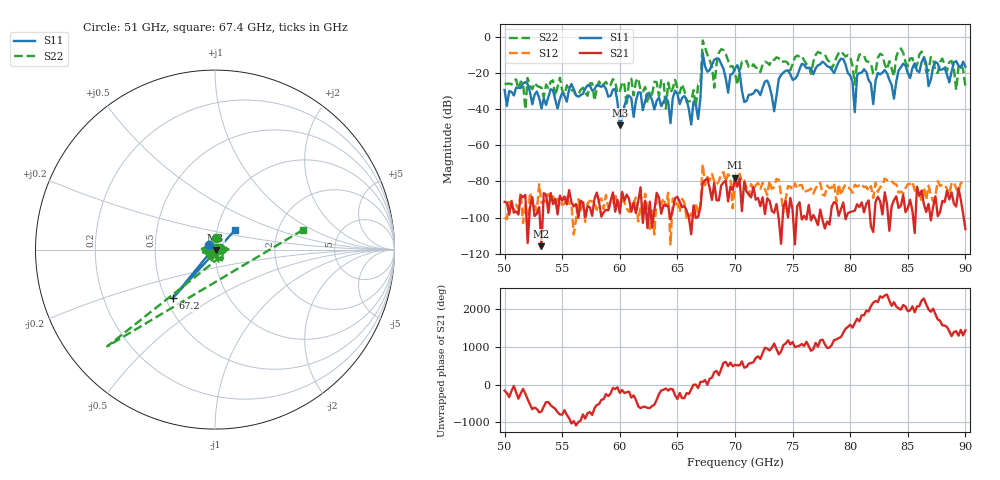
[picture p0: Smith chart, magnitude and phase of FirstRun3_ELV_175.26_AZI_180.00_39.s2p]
! 11/24/2026 3:44:12 PM
! C:\ANRITSUVNA\TEMP\TEMP.S2P
! CHANNEL.1
! TR.MEASUREMENT
! RAW.DATA
# HZ S RI R 50.0
! FREQ.HZ  S11RE  S11IM  S21RE  S21IM  S12RE  S12IM  S22RE  S22IM
!; PortSelection: Port_12
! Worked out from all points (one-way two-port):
!   201 points, 50 GHz to 90 GHz, reference 50 ohm
!   highest |S21| = -77.83 dB at 70 GHz (marker M1); lowest = -115.9 dB at 53.2 GHz (marker M2)
!   lowest |S11| = -48.9 dB at 60 GHz (marker M3), VSWR 1.01, Z = 50.3 - j0.167 ohm
!   |S11| at or under -10 dB: start of sweep to 67.19 GHz; 67.23 GHz to end of sweep
!   |S22| runs from -40.0 to -1.9 dB; largest |S21 - S12| = 0.0003
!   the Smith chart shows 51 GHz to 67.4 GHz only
!   S11 on the Smith chart (normalised r, x): 51 GHz: 0.94, +0.05; 67.2 GHz: 0.54, -0.34; 67.4 GHz: 1.22, +0.27
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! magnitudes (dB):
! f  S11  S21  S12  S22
! 50 GHz  -29.3  -91.3  -99.9  -25.6
! 51 GHz  -28.0  -96.5  -92.8  -23.4
! 51.8 GHz  -24.9  -87.5  -92.0  -40.0
! 53.2 GHz  -39.5  -115.9  -91.9  -28.1
! 56.8 GHz  -31.4  -91.9  -90.1  -28.1
! 59.6 GHz  -28.8  -96.7  -86.6  -25.0
! 60 GHz  -48.9  -97.6  -92.0  -30.5
! 63.4 GHz  -33.4  -88.9  -91.2  -32.6
! 66.8 GHz  -45.4  -99.7  -97.9  -26.5
! 67.2 GHz  -8.9  -80.7  -70.4  -1.9
! 67.4 GHz  -16.1  -79.4  -82.1  -5.9
! 68.2 GHz  -12.5  -80.8  -80.0  -28.1
! 68.8 GHz  -14.8  -82.2  -75.7  -6.7
! 70 GHz  -17.4  -77.8  -81.0  -19.9
! 73.4 GHz  -41.1  -97.3  -83.1  -12.7
! 74.2 GHz  -19.7  -93.8  -97.1  -13.5
! 76.8 GHz  -20.6  -98.6  -86.8  -13.6
! 79.4 GHz  -12.2  -91.7  -83.7  -9.4
! 80.4 GHz  -41.6  -96.2  -81.8  -26.2
! 80.6 GHz  -21.0  -92.6  -82.7  -14.0
! 83.4 GHz  -23.7  -107.3  -79.2  -13.3
! 90 GHz  -16.4  -106.4  -81.4  -27.4
